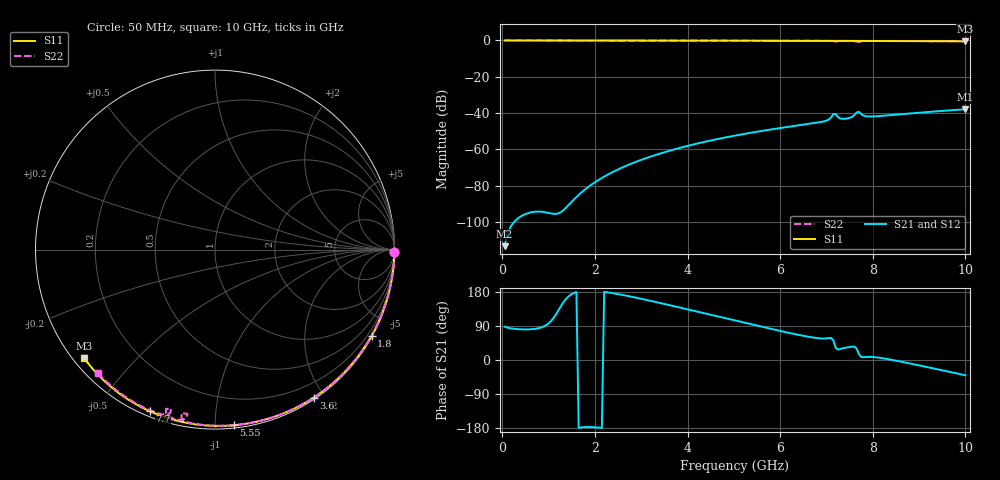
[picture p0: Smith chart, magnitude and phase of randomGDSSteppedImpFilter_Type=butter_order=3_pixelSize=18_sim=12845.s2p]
! freq	dB(S11)	phase(S11)	dB(S12)	phase(S12)
!  dB(S21)	phase(S21)	dB(S22)	phase(S22)
!S-par simulation data
#  GHz  S  DB  R 50
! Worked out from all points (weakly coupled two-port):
!   200 points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, 50 MHz to 10 GHz, reference 50 ohm
!   highest |S21| = -37.89 dB at 10 GHz (marker M1); lowest = -113.3 dB at 50 MHz (marker M2)
!   lowest |S11| = -0.5 dB at 10 GHz (marker M3), VSWR 36.61, Z = 1.54 - j18 ohm
!   |S11| at or under -10 dB: nowhere
!   |S22| runs from -0.7 to 0.0 dB; largest |S21 - S12| = 0
!   S11 on the Smith chart (normalised r, x): 50 MHz: open; 1.8 GHz: 0.03, -3.89; 3.6 GHz: 0.02, -1.87; 5.55 GHz: 0.02, -1.11; 7.7 GHz: 0.02, -0.67; 10 GHz: 0.03, -0.36
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0.05  -0.00 -0.8  -113.29 87.9  -113.29 87.9  -0.00 -0.8
1.75  -0.04 -28.1  -82.81 -177.3  -82.81 -177.3  -0.03 -26.6
1.8  -0.04 -28.8  -81.77 -176.9  -81.77 -176.9  -0.03 -27.3
1.9  -0.04 -30.4  -79.86 -176.8  -79.86 -176.8  -0.04 -28.8
2.25  -0.05 -35.9  -74.26 179.0  -74.26 179.0  -0.04 -34.0
2.65  -0.05 -42.0  -69.30 170.4  -69.30 170.4  -0.05 -39.8
3.4  -0.07 -53.3  -62.33 150.7  -62.33 150.7  -0.07 -50.6
3.6  -0.08 -56.3  -60.80 145.1  -60.80 145.1  -0.07 -53.4
5.05  -0.12 -77.1  -52.28 103.4  -52.28 103.4  -0.11 -73.2
5.55  -0.14 -83.9  -50.04 89.2  -50.04 89.2  -0.13 -79.8
6.7  -0.19 -99.2  -45.66 59.5  -45.66 59.5  -0.19 -94.8
7  -0.21 -103.1  -44.14 57.0  -44.14 57.0  -0.24 -99.2
7.1  -0.22 -104.3  -42.42 58.3  -42.42 58.3  -0.37 -101.2
7.15  -0.22 -105.0  -40.50 51.6  -40.50 51.6  -0.64 -101.6
7.2  -0.22 -105.6  -40.53 32.2  -40.53 32.2  -0.64 -99.5
7.3  -0.23 -106.9  -42.96 29.1  -42.96 29.1  -0.30 -100.9
7.4  -0.24 -108.2  -43.12 32.1  -43.12 32.1  -0.26 -102.8
7.55  -0.25 -110.1  -42.11 35.3  -42.11 35.3  -0.32 -105.6
7.7  -0.25 -112.0  -39.29 15.7  -39.29 15.7  -0.74 -105.6
7.85  -0.27 -113.9  -41.73 7.9  -41.73 7.9  -0.35 -106.9
8.35  -0.31 -120.1  -41.19 1.8  -41.19 1.8  -0.31 -113.7
10  -0.47 -140.4  -37.89 -40.2  -37.89 -40.2  -0.46 -133.3
